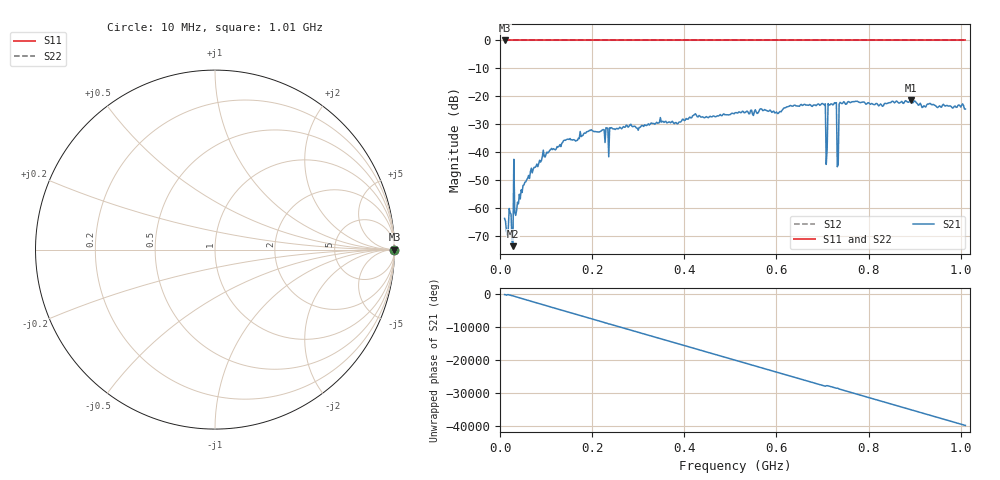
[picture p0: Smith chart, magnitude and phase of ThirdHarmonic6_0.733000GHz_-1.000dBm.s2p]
! 8/16/2025 12:31:57 AM
! C:\ANRITSUVNA\TEMP\TEMP.S2P
! CHANNEL.1
! TR.MEASUREMENT
! RAW.DATA
! RF.CORRECTION.OFF
! AVERAGING.OFF
! IF.BANDWIDTH: 5KHZ
! SWEEPTYPE:  FREQ.SWEEP(Linear)
! Reference Plane Port Info
! PORT:  PORT1  PORT2
! DISTANCE:  0  m  0  m
! TIME:  0  s  0  s
! PHASE.OFFSET:  0  deg.  0  deg.
! LOSS:  0  dB  0  dB
! REF.LOSS:  0  dB  0  dB
! REF.FREQ:  0  Hz  0  Hz
! Power Info
! POWER:  -20  dBm  -20  dBm
! EFF.POWER:  -20  dBm  -20  dBm
! SOURCE.ATTEN:  0  dB  0  dB
! TEST.ATTEN:  0  dB  0  dB
# GHZ S RI R 50.0
! FREQ.GHZ  S11RE  S11IM  S21RE  S21IM  S12RE  S12IM  S22RE  S22IM
!; PortSelection: Port_12
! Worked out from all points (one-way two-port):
!   501 points, 10 MHz to 1.01 GHz, reference 50 ohm
!   highest |S21| = -21.25 dB at 892 MHz (marker M1); lowest = -73.5 dB at 28 MHz (marker M2)
!   lowest |S11| = 0.0 dB at 10 MHz (marker M3)
!   |S11| at or under -10 dB: nowhere
!   |S22| runs from 0.0 to 0.0 dB; largest |S21 - S12| = 1.1
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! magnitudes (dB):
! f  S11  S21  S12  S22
! 10 MHz  0.0  -63.6  0.0  0.0
! 24 MHz  0.0  -62.1  0.0  0.0
! 28 MHz  0.0  -73.5  0.0  0.0
! 34 MHz  0.0  -62.5  0.0  0.0
! 36 MHz  0.0  -60.8  0.0  0.0
! 54 MHz  0.0  -50.7  0.0  0.0
! 90 MHz  0.0  -42.9  0.0  0.0
! 178 MHz  0.0  -34.1  0.0  0.0
! 344 MHz  0.0  -29.5  0.0  0.0
! 510 MHz  0.0  -25.8  0.0  0.0
! 678 MHz  0.0  -23.6  0.0  0.0
! 702 MHz  0.0  -22.8  0.0  0.0
! 706 MHz  0.0  -22.6  0.0  0.0
! 712 MHz  0.0  -22.6  0.0  0.0
! 716 MHz  0.0  -23.0  0.0  0.0
! 726 MHz  0.0  -22.2  0.0  0.0
! 732 MHz  0.0  -45.1  0.0  0.0
! 736 MHz  0.0  -22.8  0.0  0.0
! 742 MHz  0.0  -22.6  0.0  0.0
! 844 MHz  0.0  -22.2  0.0  0.0
! 892 MHz  0.0  -21.2  0.0  0.0
! 1.01 GHz  0.0  -24.5  0.0  0.0
